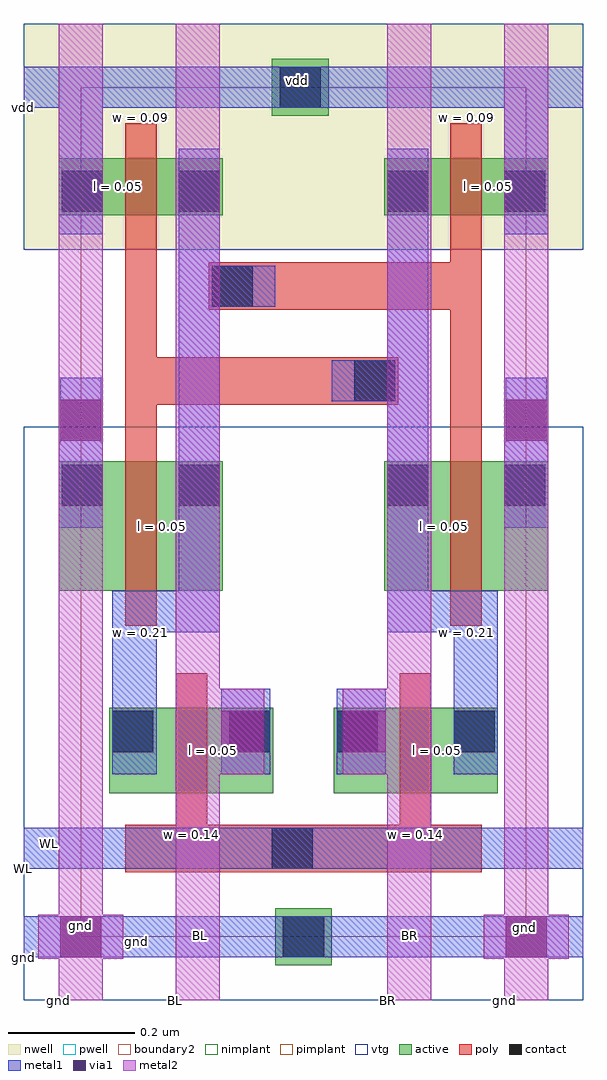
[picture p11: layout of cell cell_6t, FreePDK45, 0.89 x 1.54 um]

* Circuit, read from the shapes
.subckt cell_6t BL BR WL gnd vdd
M1 n1 n2 gnd gnd nfet w=0.205u l=0.05u
M2 BL WL n1 gnd nfet w=0.135u l=0.05u
M3 n2 WL BR gnd nfet w=0.135u l=0.05u
M4 gnd n1 n2 gnd nfet w=0.205u l=0.05u
M5 n1 n2 vdd vdd pfet w=0.09u l=0.05u
M6 vdd n1 n2 vdd pfet w=0.09u l=0.05u
.ends

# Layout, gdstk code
import gdstk
lib = gdstk.Library(unit=1e-6, precision=5e-10)
def R(c, l, rs):  # rectangles x0, y0, x1, y1
    for r in rs: c.add(gdstk.rectangle(r[:2], r[2:], *l))
active = (1, 0)
pwell = (2, 0)
nwell = (3, 0)
nimplant = (4, 0)
pimplant = (5, 0)
vtg = (6, 0)
poly = (9, 0)
contact = (10, 0)
metal1 = (11, 0)
via1 = (12, 0)
metal2 = (13, 0)
boundary2 = (239, 0)

cell_6t = lib.new_cell('cell_6t')
R(cell_6t, active, [(0.3075,-0.045,0.3975,0.045), (0.3075,-0.045,0.3975,0.045), (0.045,0.2275,0.305,0.3625), (0.045,0.2275,0.12,0.3625), (0.045,0.2275,0.12,0.3625), (0.23,0.2275,0.305,0.3625), (0.23,0.2275,0.305,0.3625), (0.4,0.2275,0.66,0.3625), (0.4,0.2275,0.475,0.3625), (0.4,0.2275,0.475,0.3625), (0.585,0.2275,0.66,0.3625), (0.585,0.2275,0.66,0.3625), (0.045,0.2875,0.12,0.3625), (0.23,0.2875,0.305,0.3625), (0.4,0.2875,0.475,0.3625), (0.585,0.2875,0.66,0.3625), (-0.035,0.5475,0.225,0.7525), (-0.035,0.5475,0.04,0.7525), (-0.035,0.5475,0.04,0.7525), (0.15,0.5475,0.225,0.7525), (0.15,0.5475,0.225,0.7525), (0.48,0.5475,0.74,0.7525), (0.48,0.5475,0.555,0.7525), (0.48,0.5475,0.555,0.7525), (0.665,0.5475,0.74,0.7525), (0.665,0.5475,0.74,0.7525), (-0.035,0.6775,0.04,0.7525), (0.15,0.6775,0.225,0.7525), (0.48,0.6775,0.555,0.7525), (0.665,0.6775,0.74,0.7525), (-0.035,1.1425,0.04,1.2175), (-0.035,1.1425,0.225,1.2325), (-0.035,1.1425,0.04,1.2325), (-0.035,1.1425,0.04,1.2325), (0.15,1.1425,0.225,1.2175), (0.15,1.1425,0.225,1.2325), (0.15,1.1425,0.225,1.2325), (0.48,1.1425,0.555,1.2175), (0.48,1.1425,0.74,1.2325), (0.48,1.1425,0.555,1.2325), (0.48,1.1425,0.555,1.2325), (0.665,1.1425,0.74,1.2175), (0.665,1.1425,0.74,1.2325), (0.665,1.1425,0.74,1.2325), (0.3025,1.3,0.3925,1.39), (0.3025,1.3,0.3925,1.39)])
R(cell_6t, pwell, [(-0.09,-0.1,0.795,0.8075), (0.2525,-0.1,0.4525,0.1), (0.2525,-0.1,0.4525,0.1), (-0.01,0.1725,0.36,0.4175), (0.345,0.1725,0.715,0.4175), (-0.09,0.4925,0.28,0.8075), (0.425,0.4925,0.795,0.8075)])
R(cell_6t, nwell, [(-0.09,1.0875,0.28,1.2875), (-0.09,1.0875,0.795,1.445), (0.425,1.0875,0.795,1.2875), (0.2475,1.245,0.4475,1.445), (0.2475,1.245,0.4475,1.445)])
R(cell_6t, nimplant, [(0.045,0.2275,0.305,0.3625), (0.4,0.2275,0.66,0.3625), (-0.035,0.5475,0.225,0.7525), (0.48,0.5475,0.74,0.7525), (0.3025,1.3,0.3925,1.39), (0.3025,1.3,0.3925,1.39)])
R(cell_6t, pimplant, [(0.3075,-0.045,0.3975,0.045), (0.3075,-0.045,0.3975,0.045), (-0.035,1.1425,0.225,1.2325), (0.48,1.1425,0.74,1.2325)])
R(cell_6t, vtg, [(-0.09,-0.1,0.795,0.8075), (-0.01,0.1725,0.36,0.4175), (0.345,0.1725,0.715,0.4175), (-0.09,0.4925,0.28,0.8075), (0.425,0.4925,0.795,0.8075), (-0.09,1.0875,0.28,1.2875), (-0.09,1.0875,0.795,1.445), (0.425,1.0875,0.795,1.2875)])
R(cell_6t, poly, [(0.07,0.1025,0.635,0.1775), (0.2975,0.1025,0.3725,0.1775), (0.15,0.1725,0.2,0.2275), (0.15,0.1725,0.2,0.4175), (0.505,0.1725,0.555,0.2275), (0.505,0.1725,0.555,0.4175), (0.15,0.3625,0.2,0.4175), (0.505,0.3625,0.555,0.4175), (0.07,0.4925,0.12,0.5475), (0.07,0.4925,0.12,0.8075), (0.585,0.4925,0.635,0.5475), (0.585,0.4925,0.635,0.8075), (0.07,0.7525,0.12,0.8075), (0.585,0.7525,0.635,0.8075), (0.07,0.8075,0.12,1.0875), (0.07,0.8075,0.12,1.0875), (0.585,0.8075,0.635,1.0875), (0.585,0.8075,0.635,1.0875), (0.07,0.8425,0.5025,0.9175), (0.4275,0.8425,0.5025,0.9175), (0.4275,0.8425,0.5025,0.9175), (0.2025,0.9925,0.2775,1.0675), (0.2025,0.9925,0.2775,1.0675), (0.2025,0.9925,0.635,1.0675), (0.07,1.0875,0.12,1.1425), (0.07,1.0875,0.12,1.2875), (0.585,1.0875,0.635,1.1425), (0.585,1.0875,0.635,1.2875), (0.07,1.2325,0.12,1.2875), (0.585,1.2325,0.635,1.2875)])
R(cell_6t, contact, [(0.32,-0.0325,0.385,0.0325), (0.32,-0.0325,0.385,0.0325), (0.3025,0.1075,0.3675,0.1725), (0.05,0.2925,0.115,0.3575), (0.235,0.2925,0.3,0.3575), (0.405,0.2925,0.47,0.3575), (0.59,0.2925,0.655,0.3575), (-0.03,0.6825,0.035,0.7475), (0.155,0.6825,0.22,0.7475), (0.485,0.6825,0.55,0.7475), (0.67,0.6825,0.735,0.7475), (0.4325,0.8475,0.4975,0.9125), (0.4325,0.8475,0.4975,0.9125), (0.2075,0.9975,0.2725,1.0625), (0.2075,0.9975,0.2725,1.0625), (-0.03,1.1475,0.035,1.2125), (0.155,1.1475,0.22,1.2125), (0.485,1.1475,0.55,1.2125), (0.67,1.1475,0.735,1.2125), (0.315,1.3125,0.38,1.3775), (0.315,1.3125,0.38,1.3775)])
R(cell_6t, metal1, [(-0.09,-0.0325,0.795,0.0325), (-0.09,-0.0325,0.795,0.0325), (-0.0675,-0.0325,0.0675,0.0325), (-0.0675,-0.0325,0.0675,0.0325), (0.285,-0.0325,0.42,0.0325), (0.285,-0.0325,0.42,0.0325), (0.6375,-0.0325,0.7725,0.0325), (0.6375,-0.0325,0.7725,0.0325), (0.6375,-0.0325,0.7725,0.0325), (0.6375,-0.0325,0.7725,0.0325), (-0.09,0.1075,0.795,0.1725), (-0.09,0.1075,0.795,0.1725), (0.2675,0.1075,0.4025,0.1725), (-0.085,0.11,-0.0325,0.1725), (0.62,0.11,0.6725,0.1725), (0.05,0.2575,0.115,0.3925), (0.05,0.2575,0.12,0.5475), (0.2225,0.2575,0.2875,0.3925), (0.235,0.2575,0.3,0.3925), (0.405,0.2575,0.47,0.3925), (0.4175,0.2575,0.4825,0.3925), (0.59,0.2575,0.655,0.3925), (0.59,0.2575,0.66,0.5475), (0.05,0.4825,0.22,0.5475), (0.155,0.4825,0.22,1.2225), (0.485,0.4825,0.66,0.5475), (0.485,0.4825,0.55,1.1125), (-0.035,0.6475,0.035,0.7825), (-0.035,0.6475,0.035,0.7825), (-0.03,0.6475,0.035,0.7825), (0.155,0.6475,0.22,0.7825), (0.485,0.6475,0.55,0.7825), (0.67,0.6475,0.735,0.7825), (0.67,0.6475,0.74,0.7825), (0.67,0.6475,0.74,0.7825), (0.67,0.6475,0.74,0.7825), (0.67,0.6475,0.74,0.7825), (0.67,0.6475,0.74,0.7825), (0.67,0.6475,0.74,0.7825), (-0.0325,0.75,0.0325,0.885), (-0.0325,0.75,0.0325,0.885), (-0.0325,0.75,0.0325,0.885), (-0.0325,0.75,0.0325,0.885), (-0.0325,0.75,0.0325,0.885), (-0.0325,0.75,0.0325,0.885), (0.6725,0.75,0.7375,0.885), (0.6725,0.75,0.7375,0.885), (0.6725,0.75,0.7375,0.885), (0.6725,0.75,0.7375,0.885), (0.6725,0.75,0.7375,0.885), (0.6725,0.75,0.7375,0.885), (0.6725,0.75,0.7375,0.885), (0.6725,0.75,0.7375,0.885), (0.6725,0.75,0.7375,0.885), (0.6725,0.75,0.7375,0.885), (0.6725,0.75,0.7375,0.885), (0.6725,0.75,0.7375,0.885), (0.6725,0.75,0.7375,0.885), (0.6725,0.75,0.7375,0.885), (0.6725,0.75,0.7375,0.885), (0.6725,0.75,0.7375,0.885), (0.6725,0.75,0.7375,0.885), (0.6725,0.75,0.7375,0.885), (0.6725,0.75,0.7375,0.885), (0.6725,0.75,0.7375,0.885), (0.6725,0.75,0.7375,0.885), (0.6725,0.75,0.7375,0.885), (0.6725,0.75,0.7375,0.885), (0.6725,0.75,0.7375,0.885), (0.3975,0.8475,0.5325,0.9125), (0.3975,0.8475,0.5325,0.9125), (0.1725,0.9975,0.3075,1.0625), (0.1725,0.9975,0.3075,1.0625), (-0.035,1.1125,0.035,1.3125), (-0.03,1.1125,0.035,1.2475), (0.155,1.1125,0.22,1.2475), (0.485,1.1125,0.55,1.2475), (0.67,1.1125,0.735,1.2475), (0.67,1.1125,0.74,1.3125), (0.67,1.1125,0.74,1.3125), (-0.09,1.3125,0.795,1.3775), (-0.09,1.3125,0.795,1.3775), (0.28,1.3125,0.415,1.3775), (0.28,1.3125,0.415,1.3775), (0.2925,1.3125,0.3925,1.375), (0.2925,1.3125,0.3925,1.375), (0.2925,1.315,0.3925,1.3775), (0.2925,1.315,0.3925,1.3775)])
R(cell_6t, via1, [(-0.0325,-0.0325,0.0325,0.0325), (-0.0325,-0.0325,0.0325,0.0325), (0.6725,-0.0325,0.7375,0.0325), (0.6725,-0.0325,0.7375,0.0325), (0.6725,-0.0325,0.7375,0.0325), (0.6725,-0.0325,0.7375,0.0325), (0.2225,0.2925,0.2875,0.3575), (0.4175,0.2925,0.4825,0.3575), (-0.0325,0.785,0.0325,0.85), (-0.0325,0.785,0.0325,0.85), (-0.0325,0.785,0.0325,0.85), (-0.0325,0.785,0.0325,0.85), (-0.0325,0.785,0.0325,0.85), (-0.0325,0.785,0.0325,0.85), (0.6725,0.785,0.7375,0.85), (0.6725,0.785,0.7375,0.85), (0.6725,0.785,0.7375,0.85), (0.6725,0.785,0.7375,0.85), (0.6725,0.785,0.7375,0.85), (0.6725,0.785,0.7375,0.85), (0.6725,0.785,0.7375,0.85), (0.6725,0.785,0.7375,0.85), (0.6725,0.785,0.7375,0.85), (0.6725,0.785,0.7375,0.85), (0.6725,0.785,0.7375,0.85), (0.6725,0.785,0.7375,0.85), (0.6725,0.785,0.7375,0.85), (0.6725,0.785,0.7375,0.85), (0.6725,0.785,0.7375,0.85), (0.6725,0.785,0.7375,0.85), (0.6725,0.785,0.7375,0.85), (0.6725,0.785,0.7375,0.85), (0.6725,0.785,0.7375,0.85), (0.6725,0.785,0.7375,0.85), (0.6725,0.785,0.7375,0.85), (0.6725,0.785,0.7375,0.85), (0.6725,0.785,0.7375,0.85), (0.6725,0.785,0.7375,0.85)])
R(cell_6t, metal2, [(-0.035,-0.1,0.035,1.445), (-0.035,-0.1,0.035,1.445), (0.15,-0.1,0.22,1.445), (0.15,-0.1,0.22,1.445), (0.485,-0.1,0.555,1.445), (0.485,-0.1,0.555,1.445), (0.67,-0.1,0.74,1.445), (0.67,-0.1,0.74,1.445), (-0.0675,-0.035,0.0675,0.035), (-0.0675,-0.035,0.0675,0.035), (0.6375,-0.035,0.7725,0.035), (0.6375,-0.035,0.7725,0.035), (0.6375,-0.035,0.7725,0.035), (0.6375,-0.035,0.7725,0.035), (0.4925,-0.0325,0.55,0.0275), (0.67,-0.0325,0.74,1.3775), (-0.03,-0.03,0.03,0.0275), (0.1575,-0.025,0.2125,0.0275), (0.675,-0.025,0.735,0.0325), (0.22,0.2575,0.29,0.3925), (0.415,0.2575,0.485,0.3925), (-0.035,0.75,0.035,0.885), (-0.035,0.75,0.035,0.885), (-0.035,0.75,0.035,0.885), (-0.035,0.75,0.035,0.885), (-0.035,0.75,0.035,0.885), (-0.035,0.75,0.035,0.885), (0.67,0.75,0.74,0.885), (0.67,0.75,0.74,0.885), (0.67,0.75,0.74,0.885), (0.67,0.75,0.74,0.885), (0.67,0.75,0.74,0.885), (0.67,0.75,0.74,0.885), (0.67,0.75,0.74,0.885), (0.67,0.75,0.74,0.885), (0.67,0.75,0.74,0.885), (0.67,0.75,0.74,0.885), (0.67,0.75,0.74,0.885), (0.67,0.75,0.74,0.885), (0.67,0.75,0.74,0.885), (0.67,0.75,0.74,0.885), (0.67,0.75,0.74,0.885), (0.67,0.75,0.74,0.885), (0.67,0.75,0.74,0.885), (0.67,0.75,0.74,0.885), (0.67,0.75,0.74,0.885), (0.67,0.75,0.74,0.885), (0.67,0.75,0.74,0.885), (0.67,0.75,0.74,0.885), (0.67,0.75,0.74,0.885), (0.67,0.75,0.74,0.885)])
R(cell_6t, boundary2, [(0,0,0.705,1.345)])
cell_6t.add(gdstk.Label('gnd', (0,0.0175), layer=13, texttype=0))
cell_6t.add(gdstk.Label('gnd', (0.7025,0.015), layer=13, texttype=0))
cell_6t.add(gdstk.Label('BR', (0.52,0.0025), layer=13, texttype=0))
cell_6t.add(gdstk.Label('BL', (0.19,0.0025), layer=13, texttype=0))
cell_6t.add(gdstk.Label('l = 0.05', (0.645,1.1875), layer=230, texttype=0))
cell_6t.add(gdstk.Label('w = 0.09', (0.61,1.2975), layer=230, texttype=0))
cell_6t.add(gdstk.Label('l = 0.05', (0.06,1.1875), layer=230, texttype=0))
cell_6t.add(gdstk.Label('w = 0.09', (0.095,1.2975), layer=230, texttype=0))
cell_6t.add(gdstk.Label('l = 0.05', (0.575,0.65), layer=230, texttype=0))
cell_6t.add(gdstk.Label('w = 0.21', (0.61,0.4825), layer=230, texttype=0))
cell_6t.add(gdstk.Label('l = 0.05', (0.13,0.65), layer=230, texttype=0))
cell_6t.add(gdstk.Label('w = 0.21', (0.095,0.4825), layer=230, texttype=0))
cell_6t.add(gdstk.Label('l = 0.05', (0.565,0.295), layer=230, texttype=0))
cell_6t.add(gdstk.Label('w = 0.14', (0.53,0.1625), layer=230, texttype=0))
cell_6t.add(gdstk.Label('l = 0.05', (0.21,0.295), layer=230, texttype=0))
cell_6t.add(gdstk.Label('w = 0.14', (0.175,0.1625), layer=230, texttype=0))
cell_6t.add(gdstk.Label('vdd', (0.3425,1.355), layer=11, texttype=0))
cell_6t.add(gdstk.Label('WL', (-0.05,0.1475), layer=11, texttype=0))
cell_6t.add(gdstk.Label('gnd', (0.0875,-0.0075), layer=11, texttype=0))
cell_6t.add(gdstk.Label('BL', (0.15,-0.1), layer=13, texttype=0))
cell_6t.add(gdstk.Label('WL', (-0.09,0.1075), layer=11, texttype=0))
cell_6t.add(gdstk.Label('gnd', (-0.035,-0.1), layer=13, texttype=0))
cell_6t.add(gdstk.Label('gnd', (0.67,-0.1), layer=13, texttype=0))
cell_6t.add(gdstk.Label('gnd', (-0.09,-0.0325), layer=11, texttype=0))
cell_6t.add(gdstk.Label('vdd', (-0.09,1.3125), layer=11, texttype=0))
cell_6t.add(gdstk.Label('BR', (0.485,-0.1), layer=13, texttype=0))

lib.write_gds('cell_6t.gds')
